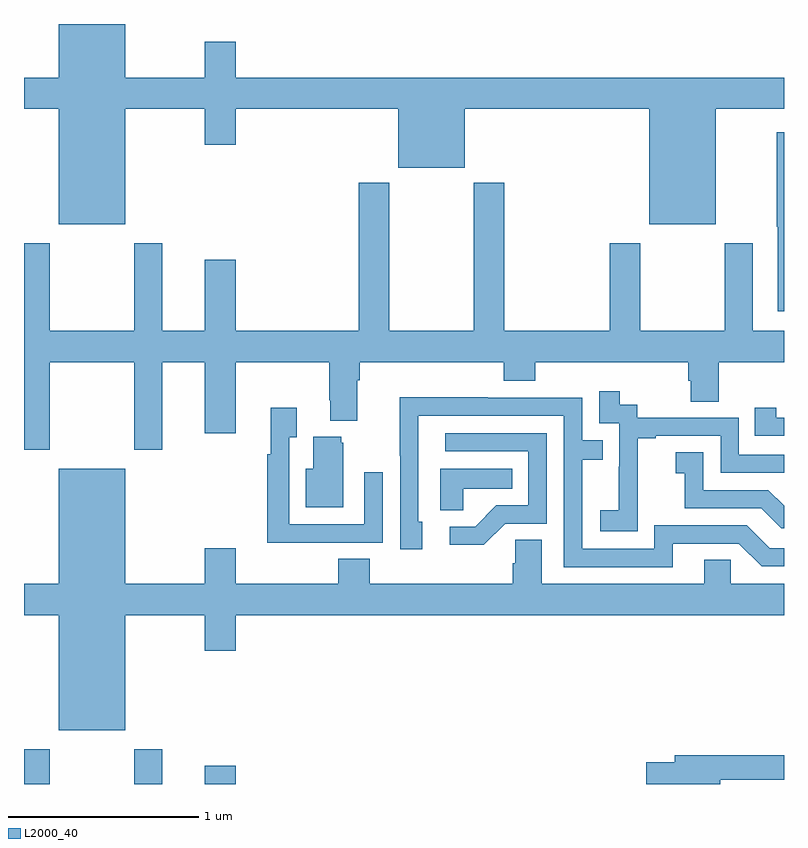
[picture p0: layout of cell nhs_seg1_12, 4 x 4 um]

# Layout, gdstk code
import gdstk
lib = gdstk.Library(unit=1e-6, precision=1e-09)
def R(c, l, rs):  # rectangles x0, y0, x1, y1
    for r in rs: c.add(gdstk.rectangle(r[:2], r[2:], *l))
def P(c, l, *ps):  # polygons
    for p in ps: c.add(gdstk.Polygon(p, *l))
L2000_40 = (2000, 40)

nhs_seg1_12 = lib.new_cell('nhs_seg1_12')
R(nhs_seg1_12, L2000_40, [(111,528.199,111.135,528.382), (111.58,528.199,111.727,528.382), (111.95,528.199,112.114,528.295)])
P(nhs_seg1_12, L2000_40, [(111.532,531.752),(111.95,531.752),(111.95,531.564),(112.114,531.564),(112.114,531.752),(112.97,531.752),(112.97,531.443),(113.32,531.443),(113.32,531.752),(114.29,531.752),(114.29,531.146),(114.64,531.146),(114.64,531.752),(115,531.752),(115,531.916),(112.114,531.916),(112.114,532.105),(111.95,532.105),(111.95,531.916),(111.532,531.916),(111.532,532.199),(111.182,532.199),(111.182,531.916),(111,531.916),(111,531.752),(111.182,531.752),(111.182,531.146),(111.532,531.146)],
  [(115,531.628),(114.961,531.628),(114.961,531.133),(114.968,531.133),(114.968,530.688),(115,530.688)],
  [(111.135,530.42),(111.58,530.42),(111.58,529.959),(111.727,529.959),(111.727,530.42),(111.95,530.42),(111.95,530.046),(112.114,530.046),(112.114,530.42),(112.606,530.42),(112.606,530.218),(112.613,530.218),(112.613,530.111),(112.753,530.111),(112.753,530.324),(112.766,530.324),(112.766,530.42),(113.525,530.42),(113.525,530.321),(113.69,530.321),(113.69,530.42),(114.497,530.42),(114.497,530.322),(114.509,530.322),(114.509,530.212),(114.657,530.212),(114.657,530.42),(115,530.42),(115,530.584),(114.835,530.584),(114.835,531.046),(114.688,531.046),(114.688,530.584),(114.243,530.584),(114.243,531.046),(114.083,531.046),(114.083,530.584),(113.528,530.584),(113.528,531.364),(113.368,531.364),(113.368,530.584),(112.923,530.584),(112.923,531.364),(112.763,531.364),(112.763,530.584),(112.114,530.584),(112.114,530.959),(111.95,530.959),(111.95,530.584),(111.727,530.584),(111.727,531.046),(111.58,531.046),(111.58,530.584),(111.135,530.584),(111.135,531.046),(111,531.046),(111,529.959),(111.135,529.959)],
  [(114.231,529.735),(114.23,529.735),(114.23,530.019),(114.325,530.019),(114.325,530.031),(114.666,530.031),(114.666,529.836),(115,529.836),(115,529.932),(114.762,529.932),(114.762,530.127),(114.228,530.127),(114.228,530.196),(114.136,530.196),(114.136,530.266),(114.027,530.266),(114.027,530.097),(114.132,530.097),(114.132,529.868),(114.131,529.868),(114.131,529.639),(114.033,529.639),(114.033,529.529),(114.231,529.529)],
  [(114.415,529.464),(114.762,529.464),(114.882,529.344),(115,529.344),(115,529.44),(114.924,529.44),(114.804,529.56),(114.318,529.56),(114.318,529.437),(113.937,529.437),(113.937,529.906),(114.047,529.906),(114.047,530.007),(113.937,530.007),(113.937,530.232),(113.441,530.232),(113.441,530.234),(112.978,530.234),(112.978,529.927),(112.98,529.927),(112.98,529.434),(113.095,529.434),(113.095,529.578),(113.076,529.578),(113.076,530.136),(113.841,530.136),(113.841,529.341),(114.415,529.341)],
  [(115,530.127),(114.958,530.127),(114.958,530.179),(114.847,530.179),(114.847,530.031),(115,530.031)],
  [(112.571,529.47),(112.887,529.47),(112.887,529.84),(112.791,529.84),(112.791,529.566),(112.395,529.566),(112.395,530.023),(112.435,530.023),(112.435,530.179),(112.298,530.179),(112.298,529.934),(112.279,529.934),(112.279,529.469),(112.571,529.469)],
  [(113.532,529.569),(113.751,529.569),(113.751,530.046),(113.217,530.046),(113.217,529.95),(113.655,529.95),(113.655,529.665),(113.486,529.665),(113.375,529.554),(113.241,529.554),(113.241,529.457),(113.419,529.457)],
  [(112.681,529.995),(112.67,529.995),(112.67,530.026),(112.523,530.026),(112.523,529.858),(112.484,529.858),(112.484,529.655),(112.681,529.655)],
  [(115,529.664),(114.918,529.746),(114.576,529.746),(114.576,529.945),(114.429,529.945),(114.429,529.835),(114.478,529.835),(114.478,529.65),(114.881,529.65),(114.986,529.545),(115,529.545)],
  [(113.313,529.754),(113.57,529.754),(113.57,529.858),(113.192,529.858),(113.192,529.639),(113.313,529.639)],
  [(111.532,529.088),(111.95,529.088),(111.95,528.9),(112.114,528.9),(112.114,529.088),(115,529.088),(115,529.252),(114.72,529.252),(114.72,529.379),(114.581,529.379),(114.581,529.252),(113.725,529.252),(113.725,529.484),(113.586,529.484),(113.586,529.361),(113.573,529.361),(113.573,529.252),(112.82,529.252),(112.82,529.385),(112.655,529.385),(112.655,529.252),(112.114,529.252),(112.114,529.441),(111.95,529.441),(111.95,529.252),(111.532,529.252),(111.532,529.858),(111.182,529.858),(111.182,529.252),(111,529.252),(111,529.088),(111.182,529.088),(111.182,528.482),(111.532,528.482)],
  [(114.664,528.222),(115,528.222),(115,528.35),(114.425,528.35),(114.425,528.314),(114.276,528.314),(114.276,528.199),(114.664,528.199)])

lib.write_gds('nhs_seg1_12.gds')
